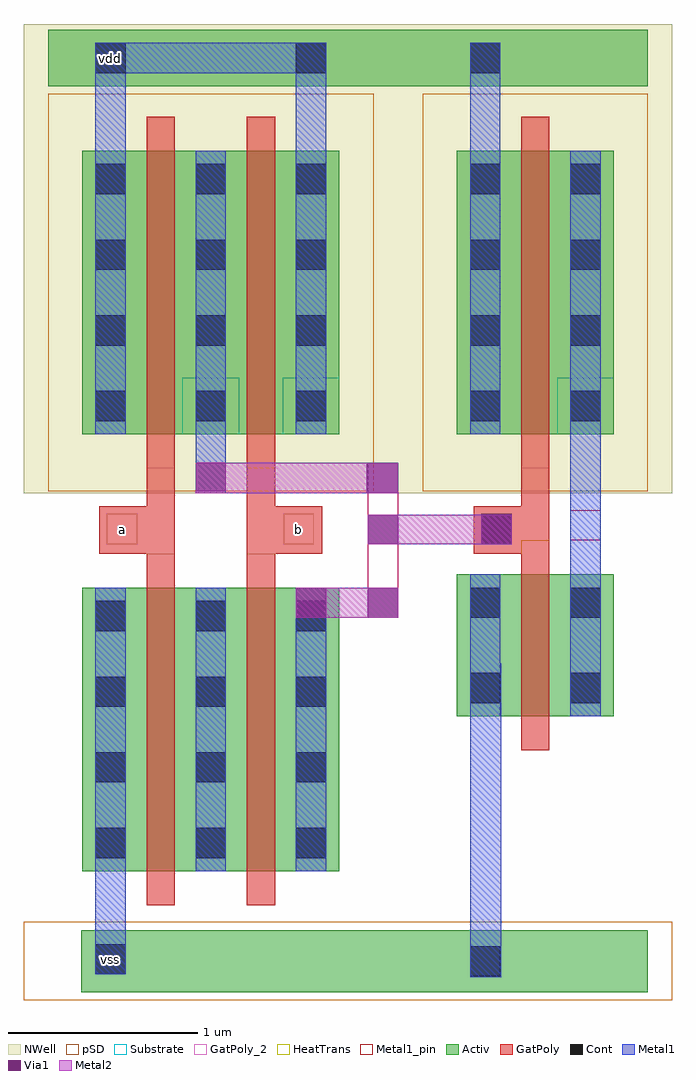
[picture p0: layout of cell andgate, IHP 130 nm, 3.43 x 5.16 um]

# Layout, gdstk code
import gdstk
lib = gdstk.Library(unit=1e-6, precision=5e-09)
def R(c, l, rs):  # rectangles x0, y0, x1, y1
    for r in rs: c.add(gdstk.rectangle(r[:2], r[2:], *l))
def A(c, l, x, y, w, h, nx, ny, dx, dy):  # array of equal rectangles
    R(c, l, [(x+i*dx, y+j*dy, x+i*dx+w, y+j*dy+h) for i in range(nx) for j in range(ny)])
Activ = (1, 0)
GatPoly = (5, 0)
GatPoly_2 = (5, 2)
Cont = (6, 0)
Metal1 = (8, 0)
Metal1_pin = (8, 2)
Metal2 = (10, 0)
pSD = (14, 0)
Via1 = (19, 0)
NWell = (31, 0)
Substrate = (40, 0)
HeatTrans = (51, 0)

nmos_1 = lib.new_cell('nmos$1')
R(nmos_1, Activ, [(0,0,0.3,0.3), (0,0,0.83,1.5), (0.53,0,0.83,0.3)])
R(nmos_1, GatPoly, [(0.34,-0.18,0.49,1.68)])
R(nmos_1, GatPoly_2, [(0.34,-0.18,0.49,1.68)])
A(nmos_1, Cont, 0.07, 0.07, 0.16, 0.16, 1, 4, 0, 0.4)
A(nmos_1, Cont, 0.6, 0.07, 0.16, 0.16, 1, 4, 0, 0.4)
R(nmos_1, Metal1, [(0.07,0,0.23,1.5), (0.6,0,0.76,1.5)])
R(nmos_1, Metal1_pin, [(0.07,0,0.23,1.5), (0.6,0,0.76,1.5)])
R(nmos_1, HeatTrans, [(0.34,-0.18,0.49,1.68)])
nmos_1.add(gdstk.Label('nmos', (0.415,0.75), layer=63, texttype=0))
nmos_1.add(gdstk.Label('nmos', (0.415,0.75), layer=51, texttype=0))

pmos = lib.new_cell('pmos')
R(pmos, Activ, [(0,0,0.3,0.3), (0,0,0.83,1.5), (0.53,0,0.83,0.3)])
R(pmos, GatPoly, [(0.34,-0.18,0.49,1.68), (0.34,-0.18,0.49,1.68)])
A(pmos, Cont, 0.07, 0.07, 0.16, 0.16, 1, 4, 0, 0.4)
A(pmos, Cont, 0.6, 0.07, 0.16, 0.16, 1, 4, 0, 0.4)
R(pmos, Metal1, [(0.07,0,0.23,1.5), (0.07,0,0.23,1.5), (0.6,0,0.76,1.5), (0.6,0,0.76,1.5)])
R(pmos, pSD, [(-0.18,-0.3,1.01,1.8)])
R(pmos, NWell, [(-0.31,-0.31,1.14,1.81)])
R(pmos, Substrate, [(0.53,0,0.83,0.3)])
R(pmos, HeatTrans, [(0.34,-0.18,0.49,1.68)])
pmos.add(gdstk.Label('pmos', (0.415,0.75), layer=63, texttype=0))
pmos.add(gdstk.Label('pmos', (0.415,0.75), layer=51, texttype=0))

nmos = lib.new_cell('nmos')
R(nmos, Activ, [(0,0,0.3,0.3), (0,0,0.83,0.75), (0.53,0,0.83,0.3)])
R(nmos, GatPoly, [(0.34,-0.18,0.49,0.93)])
R(nmos, GatPoly_2, [(0.34,-0.18,0.49,0.93)])
R(nmos, Cont, [(0.07,0.07,0.23,0.23), (0.6,0.07,0.76,0.23), (0.07,0.52,0.23,0.68), (0.6,0.52,0.76,0.68)])
R(nmos, Metal1, [(0.07,0,0.23,0.75), (0.6,0,0.76,0.75)])
R(nmos, Metal1_pin, [(0.07,0,0.23,0.75), (0.6,0,0.76,0.75)])
R(nmos, HeatTrans, [(0.34,-0.18,0.49,0.93)])
nmos.add(gdstk.Label('nmos', (0.415,0.375), layer=63, texttype=0))
nmos.add(gdstk.Label('nmos', (0.415,0.375), layer=51, texttype=0))

pmos_1 = lib.new_cell('pmos$1')
R(pmos_1, Activ, [(0,0,0.3,0.3), (0,0,0.83,1.5), (0.53,0,0.83,0.3)])
R(pmos_1, GatPoly, [(0.34,-0.18,0.49,1.68), (0.34,-0.18,0.49,1.68)])
A(pmos_1, Cont, 0.07, 0.07, 0.16, 0.16, 1, 4, 0, 0.4)
A(pmos_1, Cont, 0.6, 0.07, 0.16, 0.16, 1, 4, 0, 0.4)
R(pmos_1, Metal1, [(0.07,0,0.23,1.5), (0.07,0,0.23,1.5), (0.6,0,0.76,1.5), (0.6,0,0.76,1.5)])
R(pmos_1, pSD, [(-0.18,-0.3,1.01,1.8)])
R(pmos_1, NWell, [(-0.31,-0.31,1.14,1.81)])
R(pmos_1, Substrate, [(0.53,0,0.83,0.3)])
R(pmos_1, HeatTrans, [(0.34,-0.18,0.49,1.68)])
pmos_1.add(gdstk.Label('pmos', (0.415,0.75), layer=63, texttype=0))
pmos_1.add(gdstk.Label('pmos', (0.415,0.75), layer=51, texttype=0))

inverter = lib.new_cell('inverter')
R(inverter, Activ, [(-0.845,-2.585,0.395,-2.255), (-0.795,2.205,0.395,2.505)])
R(inverter, GatPoly, [(-0.525,-0.265,-0.275,-0.015), (-0.275,-0.195,-0.125,0.185)])
R(inverter, GatPoly_2, [(-0.485,-0.215,-0.325,-0.055)])
R(inverter, Cont, [(-0.545,-2.5,-0.385,-2.34), (-0.545,-2.5,-0.385,-2.34), (-0.545,2.275,-0.385,2.435)])
R(inverter, Metal1, [(-0.545,-2.505,-0.38,-0.845), (-0.015,-0.375,0.145,0.365), (-0.545,1.865,-0.385,2.435)])
R(inverter, Metal1_pin, [(-0.015,-0.195,0.145,-0.035)])
R(inverter, pSD, [(-0.925,-2.625,0.525,-2.21)])
R(inverter, NWell, [(-0.925,2.175,0.525,2.535)])
inverter.add(gdstk.Reference(nmos, (-0.615,-1.125)))
inverter.add(gdstk.Reference(pmos_1, (-0.615,0.365)))
inverter.add(gdstk.Label('vss', (-0.475,-2.43), layer=8, texttype=2))
inverter.add(gdstk.Label('vdd', (-0.465,2.355), layer=8, texttype=2))
inverter.add(gdstk.Label('out', (0.06,-0.09), layer=8, texttype=2))
inverter.add(gdstk.Label('in', (-0.45,-0.11), layer=5, texttype=2))

andgate = lib.new_cell('andgate')
R(andgate, Activ, [(-0.62,-2.585,1.135,-2.255), (-0.795,2.205,1.185,2.505)])
R(andgate, GatPoly, [(-0.525,-0.265,-0.275,-0.015), (-0.275,-0.265,-0.125,0.185), (0.255,-0.265,0.405,0.185), (0.405,-0.265,0.655,-0.015)])
R(andgate, GatPoly_2, [(-0.485,-0.215,-0.325,-0.055), (0.45,-0.215,0.61,-0.055)])
R(andgate, Cont, [(-0.545,-2.49,-0.385,-2.33), (1.495,-0.215,1.655,-0.055), (-0.545,2.275,-0.385,2.435), (0.515,2.275,0.675,2.435)])
R(andgate, Metal1, [(-0.545,-2.49,-0.385,-1.945), (-0.015,0.055,0.145,0.365), (-0.545,1.865,-0.385,2.435), (0.515,1.865,0.675,2.435), (-0.545,2.275,0.675,2.435)])
R(andgate, Metal1_pin, [(-0.545,-2.49,-0.385,-2.33), (0.895,-0.605,1.055,0.215), (-0.545,2.275,-0.385,2.435)])
R(andgate, Metal2, [(0.515,-0.605,1.055,-0.445), (0.895,-0.215,1.655,-0.06), (-0.015,0.055,1.055,0.215)])
R(andgate, pSD, [(-0.925,-2.625,1.055,-2.21)])
R(andgate, Via1, [(0.515,-0.605,0.675,-0.445), (0.895,-0.605,1.055,-0.445), (0.895,-0.215,1.055,-0.06), (1.495,-0.215,1.655,-0.055), (0.89,0.055,1.055,0.215), (-0.015,0.065,0.145,0.215)])
R(andgate, NWell, [(-0.925,2.175,1.055,2.535)])
andgate.add(gdstk.Reference(nmos_1, (-0.615,-1.945)))
andgate.add(gdstk.Reference(pmos, (-0.085,0.365)))
andgate.add(gdstk.Reference(pmos, (-0.615,0.365)))
andgate.add(gdstk.Reference(nmos_1, (-0.085,-1.945)))
andgate.add(gdstk.Reference(inverter, (1.98,0)))
andgate.add(gdstk.Label('vss', (-0.465,-2.41), layer=8, texttype=2))
andgate.add(gdstk.Label('vdd', (-0.465,2.355), layer=8, texttype=2))
andgate.add(gdstk.Label('a', (-0.4,-0.14), layer=5, texttype=2))
andgate.add(gdstk.Label('b', (0.53,-0.14), layer=5, texttype=2))

lib.write_gds('andgate.gds')
